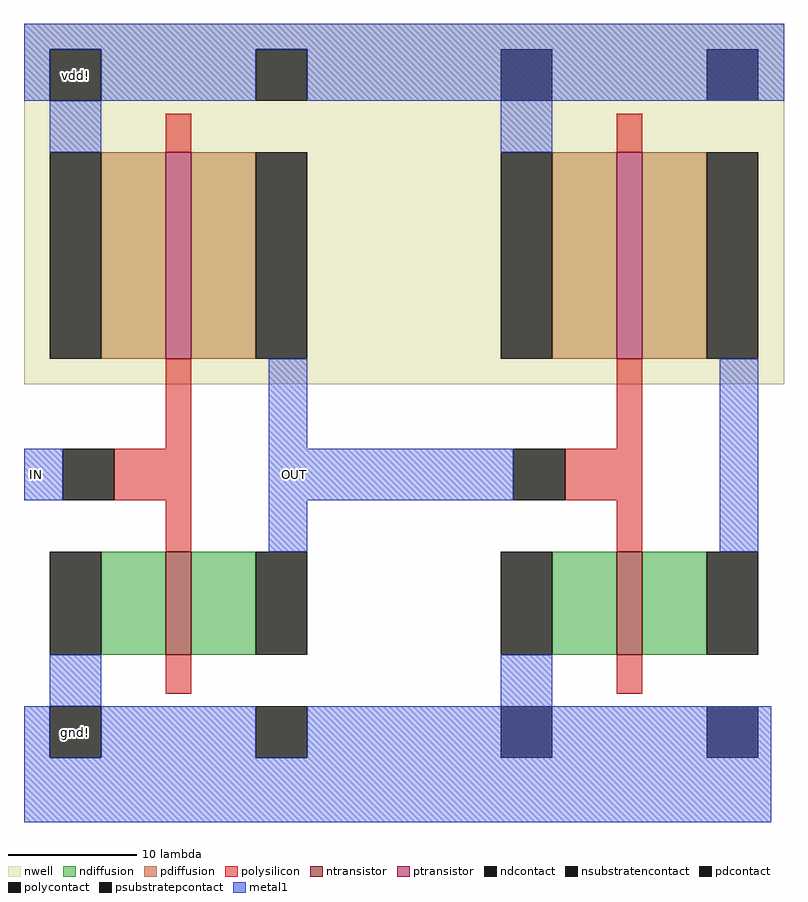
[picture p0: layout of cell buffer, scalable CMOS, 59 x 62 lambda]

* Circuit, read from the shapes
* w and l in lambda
.subckt buffer IN OUT gnd! vdd!
M1 OUT IN gnd! gnd! nfet w=8 l=2
M2 Inverter_0/OUT OUT gnd! gnd! nfet w=8 l=2
M3 OUT IN vdd! vdd! pfet w=16 l=2
M4 Inverter_0/OUT OUT vdd! vdd! pfet w=16 l=2
.ends

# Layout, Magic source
magic
tech scmos
<< nwell >>
rect -43 30 16 58
<< polysilicon >>
rect -32 48 -30 51
rect -32 25 -30 32
rect -36 21 -30 25
rect -32 17 -30 21
rect -32 6 -30 9
<< ndiffusion >>
rect -37 9 -32 17
rect -30 9 -25 17
<< pdiffusion >>
rect -37 32 -32 48
rect -30 32 -25 48
<< metal1 >>
rect -43 56 16 58
rect -43 52 -41 56
rect -37 52 -25 56
rect -21 52 16 56
rect -41 48 -37 52
rect -24 25 -21 32
rect -43 21 -40 25
rect -24 21 -5 25
rect -24 17 -21 21
rect -41 5 -37 9
rect -43 1 -41 5
rect -37 1 -25 5
rect -21 1 15 5
rect -43 -4 15 1
<< ntransistor >>
rect -32 9 -30 17
<< ptransistor >>
rect -32 32 -30 48
<< polycontact >>
rect -40 21 -36 25
<< ndcontact >>
rect -41 9 -37 17
rect -25 9 -21 17
<< pdcontact >>
rect -41 32 -37 48
rect -25 32 -21 48
<< psubstratepcontact >>
rect -41 1 -37 5
rect -25 1 -21 5
<< nsubstratencontact >>
rect -41 52 -37 56
rect -25 52 -21 56
use Inverter  Inverter_0
transform 1 0 -4 0 1 27
box -4 -31 20 31
<< labels >>
rlabel metal1 -42 21 -42 25 3 IN
rlabel nsubstratencontact -41 52 -37 56 4 vdd!
rlabel psubstratepcontact -41 1 -37 5 2 gnd!
rlabel metal1 -22 21 -22 25 7 OUT
<< end >>

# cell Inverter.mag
magic
tech scmos
<< nwell >>
rect -4 3 20 31
<< polysilicon >>
rect 7 21 9 24
rect 7 -2 9 5
rect 3 -6 9 -2
rect 7 -10 9 -6
rect 7 -21 9 -18
<< ndiffusion >>
rect 2 -18 7 -10
rect 9 -18 14 -10
<< pdiffusion >>
rect 2 5 7 21
rect 9 5 14 21
<< metal1 >>
rect -4 29 20 31
rect -4 25 -2 29
rect 2 25 14 29
rect 18 25 20 29
rect -2 21 2 25
rect -4 -6 -1 -2
rect 15 -10 18 5
rect -2 -22 2 -18
rect -4 -26 -2 -22
rect 2 -26 14 -22
rect 18 -26 19 -22
rect -4 -31 19 -26
<< ntransistor >>
rect 7 -18 9 -10
<< ptransistor >>
rect 7 5 9 21
<< polycontact >>
rect -1 -6 3 -2
<< ndcontact >>
rect -2 -18 2 -10
rect 14 -18 18 -10
<< pdcontact >>
rect -2 5 2 21
rect 14 5 18 21
<< psubstratepcontact >>
rect -2 -26 2 -22
rect 14 -26 18 -22
<< nsubstratencontact >>
rect -2 25 2 29
rect 14 25 18 29
<< labels >>
rlabel metal1 -3 -6 -3 -2 3 IN
rlabel nsubstratencontact -2 25 2 29 4 vdd!
rlabel psubstratepcontact -2 -26 2 -22 2 gnd!
rlabel metal1 17 -6 17 -2 7 OUT
<< end >>
